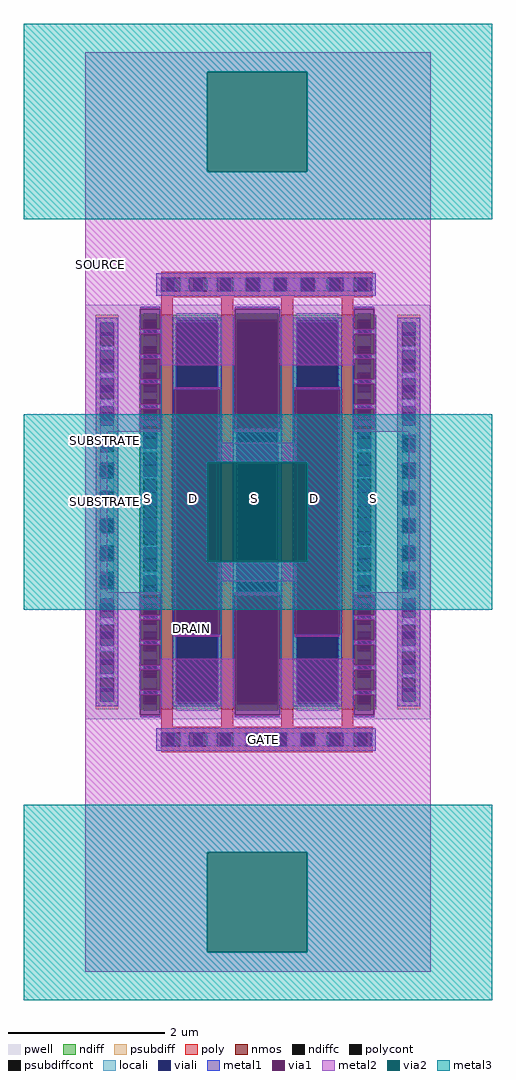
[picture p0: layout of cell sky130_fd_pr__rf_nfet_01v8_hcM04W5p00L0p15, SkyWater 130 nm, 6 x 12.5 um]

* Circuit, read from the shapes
.subckt sky130_fd_pr__rf_nfet_01v8_hcM04W5p00L0p15 DRAIN GATE SOURCE SUBSTRATE
XM1 DRAIN GATE SOURCE SUBSTRATE sky130_fd_pr__nfet_01v8 w=5.05 l=0.15 m=4
.ends

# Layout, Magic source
magic
tech sky130A
magscale 1 2
<< pwell >>
rect 158 719 1041 1781
<< nmos >>
rect 352 745 382 1755
rect 506 745 536 1755
rect 660 745 690 1755
rect 814 745 844 1755
<< ndiff >>
rect 296 1743 352 1755
rect 296 1709 307 1743
rect 341 1709 352 1743
rect 296 1675 352 1709
rect 296 1641 307 1675
rect 341 1641 352 1675
rect 296 1607 352 1641
rect 296 1573 307 1607
rect 341 1573 352 1607
rect 296 1539 352 1573
rect 296 1505 307 1539
rect 341 1505 352 1539
rect 296 1471 352 1505
rect 296 1437 307 1471
rect 341 1437 352 1471
rect 296 1403 352 1437
rect 296 1369 307 1403
rect 341 1369 352 1403
rect 296 1335 352 1369
rect 296 1301 307 1335
rect 341 1301 352 1335
rect 296 1267 352 1301
rect 296 1233 307 1267
rect 341 1233 352 1267
rect 296 1199 352 1233
rect 296 1165 307 1199
rect 341 1165 352 1199
rect 296 1131 352 1165
rect 296 1097 307 1131
rect 341 1097 352 1131
rect 296 1063 352 1097
rect 296 1029 307 1063
rect 341 1029 352 1063
rect 296 995 352 1029
rect 296 961 307 995
rect 341 961 352 995
rect 296 927 352 961
rect 296 893 307 927
rect 341 893 352 927
rect 296 859 352 893
rect 296 825 307 859
rect 341 825 352 859
rect 296 791 352 825
rect 296 757 307 791
rect 341 757 352 791
rect 296 745 352 757
rect 382 1743 506 1755
rect 382 757 393 1743
rect 495 757 506 1743
rect 382 745 506 757
rect 536 1743 660 1755
rect 536 757 547 1743
rect 649 757 660 1743
rect 536 745 660 757
rect 690 1743 814 1755
rect 690 757 701 1743
rect 803 757 814 1743
rect 690 745 814 757
rect 844 1743 903 1755
rect 844 1709 855 1743
rect 889 1709 903 1743
rect 844 1675 903 1709
rect 844 1641 855 1675
rect 889 1641 903 1675
rect 844 1607 903 1641
rect 844 1573 855 1607
rect 889 1573 903 1607
rect 844 1539 903 1573
rect 844 1505 855 1539
rect 889 1505 903 1539
rect 844 1471 903 1505
rect 844 1437 855 1471
rect 889 1437 903 1471
rect 844 1403 903 1437
rect 844 1369 855 1403
rect 889 1369 903 1403
rect 844 1335 903 1369
rect 844 1301 855 1335
rect 889 1301 903 1335
rect 844 1267 903 1301
rect 844 1233 855 1267
rect 889 1233 903 1267
rect 844 1199 903 1233
rect 844 1165 855 1199
rect 889 1165 903 1199
rect 844 1131 903 1165
rect 844 1097 855 1131
rect 889 1097 903 1131
rect 844 1063 903 1097
rect 844 1029 855 1063
rect 889 1029 903 1063
rect 844 995 903 1029
rect 844 961 855 995
rect 889 961 903 995
rect 844 927 903 961
rect 844 893 855 927
rect 889 893 903 927
rect 844 859 903 893
rect 844 825 855 859
rect 889 825 903 859
rect 844 791 903 825
rect 844 757 855 791
rect 889 757 903 791
rect 844 745 903 757
<< ndiffc >>
rect 307 1709 341 1743
rect 307 1641 341 1675
rect 307 1573 341 1607
rect 307 1505 341 1539
rect 307 1437 341 1471
rect 307 1369 341 1403
rect 307 1301 341 1335
rect 307 1233 341 1267
rect 307 1165 341 1199
rect 307 1097 341 1131
rect 307 1029 341 1063
rect 307 961 341 995
rect 307 893 341 927
rect 307 825 341 859
rect 307 757 341 791
rect 393 757 495 1743
rect 547 757 649 1743
rect 701 757 803 1743
rect 855 1709 889 1743
rect 855 1641 889 1675
rect 855 1573 889 1607
rect 855 1505 889 1539
rect 855 1437 889 1471
rect 855 1369 889 1403
rect 855 1301 889 1335
rect 855 1233 889 1267
rect 855 1165 889 1199
rect 855 1097 889 1131
rect 855 1029 889 1063
rect 855 961 889 995
rect 855 893 889 927
rect 855 825 889 859
rect 855 757 889 791
<< psubdiff >>
rect 184 1709 242 1755
rect 184 1675 196 1709
rect 230 1675 242 1709
rect 184 1641 242 1675
rect 184 1607 196 1641
rect 230 1607 242 1641
rect 184 1573 242 1607
rect 184 1539 196 1573
rect 230 1539 242 1573
rect 184 1505 242 1539
rect 184 1471 196 1505
rect 230 1471 242 1505
rect 184 1437 242 1471
rect 184 1403 196 1437
rect 230 1403 242 1437
rect 184 1369 242 1403
rect 184 1335 196 1369
rect 230 1335 242 1369
rect 184 1301 242 1335
rect 184 1267 196 1301
rect 230 1267 242 1301
rect 184 1233 242 1267
rect 184 1199 196 1233
rect 230 1199 242 1233
rect 184 1165 242 1199
rect 184 1131 196 1165
rect 230 1131 242 1165
rect 184 1097 242 1131
rect 184 1063 196 1097
rect 230 1063 242 1097
rect 184 1029 242 1063
rect 184 995 196 1029
rect 230 995 242 1029
rect 184 961 242 995
rect 184 927 196 961
rect 230 927 242 961
rect 184 893 242 927
rect 184 859 196 893
rect 230 859 242 893
rect 184 825 242 859
rect 184 791 196 825
rect 230 791 242 825
rect 184 745 242 791
rect 957 1709 1015 1755
rect 957 1675 969 1709
rect 1003 1675 1015 1709
rect 957 1641 1015 1675
rect 957 1607 969 1641
rect 1003 1607 1015 1641
rect 957 1573 1015 1607
rect 957 1539 969 1573
rect 1003 1539 1015 1573
rect 957 1505 1015 1539
rect 957 1471 969 1505
rect 1003 1471 1015 1505
rect 957 1437 1015 1471
rect 957 1403 969 1437
rect 1003 1403 1015 1437
rect 957 1369 1015 1403
rect 957 1335 969 1369
rect 1003 1335 1015 1369
rect 957 1301 1015 1335
rect 957 1267 969 1301
rect 1003 1267 1015 1301
rect 957 1233 1015 1267
rect 957 1199 969 1233
rect 1003 1199 1015 1233
rect 957 1165 1015 1199
rect 957 1131 969 1165
rect 1003 1131 1015 1165
rect 957 1097 1015 1131
rect 957 1063 969 1097
rect 1003 1063 1015 1097
rect 957 1029 1015 1063
rect 957 995 969 1029
rect 1003 995 1015 1029
rect 957 961 1015 995
rect 957 927 969 961
rect 1003 927 1015 961
rect 957 893 1015 927
rect 957 859 969 893
rect 1003 859 1015 893
rect 957 825 1015 859
rect 957 791 969 825
rect 1003 791 1015 825
rect 957 745 1015 791
<< psubdiffcont >>
rect 196 1675 230 1709
rect 196 1607 230 1641
rect 196 1539 230 1573
rect 196 1471 230 1505
rect 196 1403 230 1437
rect 196 1335 230 1369
rect 196 1267 230 1301
rect 196 1199 230 1233
rect 196 1131 230 1165
rect 196 1063 230 1097
rect 196 995 230 1029
rect 196 927 230 961
rect 196 859 230 893
rect 196 791 230 825
rect 969 1675 1003 1709
rect 969 1607 1003 1641
rect 969 1539 1003 1573
rect 969 1471 1003 1505
rect 969 1403 1003 1437
rect 969 1335 1003 1369
rect 969 1267 1003 1301
rect 969 1199 1003 1233
rect 969 1131 1003 1165
rect 969 1063 1003 1097
rect 969 995 1003 1029
rect 969 927 1003 961
rect 969 859 1003 893
rect 969 791 1003 825
<< poly >>
rect 352 1850 894 1866
rect 352 1816 368 1850
rect 402 1816 436 1850
rect 470 1816 504 1850
rect 538 1816 572 1850
rect 606 1816 640 1850
rect 674 1816 708 1850
rect 742 1816 776 1850
rect 810 1816 844 1850
rect 878 1816 894 1850
rect 352 1800 894 1816
rect 352 1755 382 1800
rect 506 1755 536 1800
rect 660 1755 690 1800
rect 814 1755 844 1800
rect 352 700 382 745
rect 506 700 536 745
rect 660 700 690 745
rect 814 700 844 745
rect 352 684 894 700
rect 352 650 368 684
rect 402 650 436 684
rect 470 650 504 684
rect 538 650 572 684
rect 606 650 640 684
rect 674 650 708 684
rect 742 650 776 684
rect 810 650 844 684
rect 878 650 894 684
rect 352 634 894 650
<< polycont >>
rect 368 1816 402 1850
rect 436 1816 470 1850
rect 504 1816 538 1850
rect 572 1816 606 1850
rect 640 1816 674 1850
rect 708 1816 742 1850
rect 776 1816 810 1850
rect 844 1816 878 1850
rect 368 650 402 684
rect 436 650 470 684
rect 504 650 538 684
rect 572 650 606 684
rect 640 650 674 684
rect 708 650 742 684
rect 776 650 810 684
rect 844 650 878 684
<< locali >>
rect 402 1816 424 1850
rect 470 1816 496 1850
rect 538 1816 568 1850
rect 606 1816 640 1850
rect 674 1816 708 1850
rect 746 1816 776 1850
rect 818 1816 844 1850
rect 890 1816 894 1850
rect 307 1743 341 1759
rect 196 1663 230 1675
rect 196 1591 230 1607
rect 196 1519 230 1539
rect 196 1447 230 1471
rect 196 1375 230 1403
rect 196 1303 230 1335
rect 196 1233 230 1267
rect 196 1165 230 1197
rect 196 1097 230 1125
rect 196 1029 230 1053
rect 196 961 230 981
rect 196 893 230 909
rect 196 825 230 837
rect 307 1675 341 1701
rect 307 1607 341 1629
rect 307 1539 341 1557
rect 307 1471 341 1485
rect 307 1403 341 1413
rect 307 1335 341 1341
rect 307 1267 341 1269
rect 307 1231 341 1233
rect 307 1159 341 1165
rect 307 1087 341 1097
rect 307 1015 341 1029
rect 307 943 341 961
rect 307 871 341 893
rect 307 799 341 825
rect 307 741 341 757
rect 391 1743 497 1759
rect 391 1735 393 1743
rect 495 1735 497 1743
rect 391 757 393 765
rect 495 757 497 765
rect 391 741 497 757
rect 545 1743 651 1759
rect 545 1735 547 1743
rect 649 1735 651 1743
rect 545 757 547 765
rect 649 757 651 765
rect 545 741 651 757
rect 699 1743 805 1759
rect 699 1735 701 1743
rect 803 1735 805 1743
rect 699 757 701 765
rect 803 757 805 765
rect 699 741 805 757
rect 855 1743 889 1759
rect 855 1675 889 1701
rect 855 1607 889 1629
rect 855 1539 889 1557
rect 855 1471 889 1485
rect 855 1403 889 1413
rect 855 1335 889 1341
rect 855 1267 889 1269
rect 855 1231 889 1233
rect 855 1159 889 1165
rect 855 1087 889 1097
rect 855 1015 889 1029
rect 855 943 889 961
rect 855 871 889 893
rect 855 799 889 825
rect 969 1663 1003 1675
rect 969 1591 1003 1607
rect 969 1519 1003 1539
rect 969 1447 1003 1471
rect 969 1375 1003 1403
rect 969 1303 1003 1335
rect 969 1233 1003 1267
rect 969 1165 1003 1197
rect 969 1097 1003 1125
rect 969 1029 1003 1053
rect 969 961 1003 981
rect 969 893 1003 909
rect 969 825 1003 837
rect 855 741 889 757
rect 402 650 424 684
rect 470 650 496 684
rect 538 650 568 684
rect 606 650 640 684
rect 674 650 708 684
rect 746 650 776 684
rect 818 650 844 684
rect 890 650 894 684
<< viali >>
rect 352 1816 368 1850
rect 368 1816 386 1850
rect 424 1816 436 1850
rect 436 1816 458 1850
rect 496 1816 504 1850
rect 504 1816 530 1850
rect 568 1816 572 1850
rect 572 1816 602 1850
rect 640 1816 674 1850
rect 712 1816 742 1850
rect 742 1816 746 1850
rect 784 1816 810 1850
rect 810 1816 818 1850
rect 856 1816 878 1850
rect 878 1816 890 1850
rect 196 1709 230 1735
rect 196 1701 230 1709
rect 196 1641 230 1663
rect 196 1629 230 1641
rect 196 1573 230 1591
rect 196 1557 230 1573
rect 196 1505 230 1519
rect 196 1485 230 1505
rect 196 1437 230 1447
rect 196 1413 230 1437
rect 196 1369 230 1375
rect 196 1341 230 1369
rect 196 1301 230 1303
rect 196 1269 230 1301
rect 196 1199 230 1231
rect 196 1197 230 1199
rect 196 1131 230 1159
rect 196 1125 230 1131
rect 196 1063 230 1087
rect 196 1053 230 1063
rect 196 995 230 1015
rect 196 981 230 995
rect 196 927 230 943
rect 196 909 230 927
rect 196 859 230 871
rect 196 837 230 859
rect 196 791 230 799
rect 196 765 230 791
rect 307 1709 341 1735
rect 307 1701 341 1709
rect 307 1641 341 1663
rect 307 1629 341 1641
rect 307 1573 341 1591
rect 307 1557 341 1573
rect 307 1505 341 1519
rect 307 1485 341 1505
rect 307 1437 341 1447
rect 307 1413 341 1437
rect 307 1369 341 1375
rect 307 1341 341 1369
rect 307 1301 341 1303
rect 307 1269 341 1301
rect 307 1199 341 1231
rect 307 1197 341 1199
rect 307 1131 341 1159
rect 307 1125 341 1131
rect 307 1063 341 1087
rect 307 1053 341 1063
rect 307 995 341 1015
rect 307 981 341 995
rect 307 927 341 943
rect 307 909 341 927
rect 307 859 341 871
rect 307 837 341 859
rect 307 791 341 799
rect 307 765 341 791
rect 391 765 393 1735
rect 393 765 495 1735
rect 495 765 497 1735
rect 545 765 547 1735
rect 547 765 649 1735
rect 649 765 651 1735
rect 699 765 701 1735
rect 701 765 803 1735
rect 803 765 805 1735
rect 855 1709 889 1735
rect 855 1701 889 1709
rect 855 1641 889 1663
rect 855 1629 889 1641
rect 855 1573 889 1591
rect 855 1557 889 1573
rect 855 1505 889 1519
rect 855 1485 889 1505
rect 855 1437 889 1447
rect 855 1413 889 1437
rect 855 1369 889 1375
rect 855 1341 889 1369
rect 855 1301 889 1303
rect 855 1269 889 1301
rect 855 1199 889 1231
rect 855 1197 889 1199
rect 855 1131 889 1159
rect 855 1125 889 1131
rect 855 1063 889 1087
rect 855 1053 889 1063
rect 855 995 889 1015
rect 855 981 889 995
rect 855 927 889 943
rect 855 909 889 927
rect 855 859 889 871
rect 855 837 889 859
rect 855 791 889 799
rect 855 765 889 791
rect 969 1709 1003 1735
rect 969 1701 1003 1709
rect 969 1641 1003 1663
rect 969 1629 1003 1641
rect 969 1573 1003 1591
rect 969 1557 1003 1573
rect 969 1505 1003 1519
rect 969 1485 1003 1505
rect 969 1437 1003 1447
rect 969 1413 1003 1437
rect 969 1369 1003 1375
rect 969 1341 1003 1369
rect 969 1301 1003 1303
rect 969 1269 1003 1301
rect 969 1199 1003 1231
rect 969 1197 1003 1199
rect 969 1131 1003 1159
rect 969 1125 1003 1131
rect 969 1063 1003 1087
rect 969 1053 1003 1063
rect 969 995 1003 1015
rect 969 981 1003 995
rect 969 927 1003 943
rect 969 909 1003 927
rect 969 859 1003 871
rect 969 837 1003 859
rect 969 791 1003 799
rect 969 765 1003 791
rect 352 650 368 684
rect 368 650 386 684
rect 424 650 436 684
rect 436 650 458 684
rect 496 650 504 684
rect 504 650 530 684
rect 568 650 572 684
rect 572 650 602 684
rect 640 650 674 684
rect 712 650 742 684
rect 742 650 746 684
rect 784 650 810 684
rect 810 650 818 684
rect 856 650 878 684
rect 878 650 890 684
<< metal1 >>
rect 340 1850 902 1862
rect 340 1816 352 1850
rect 386 1816 424 1850
rect 458 1816 496 1850
rect 530 1816 568 1850
rect 602 1816 640 1850
rect 674 1816 712 1850
rect 746 1816 784 1850
rect 818 1816 856 1850
rect 890 1816 902 1850
rect 340 1804 902 1816
rect 298 1770 350 1776
rect 184 1735 242 1747
rect 184 1701 196 1735
rect 230 1701 242 1735
rect 184 1663 242 1701
rect 184 1629 196 1663
rect 230 1629 242 1663
rect 184 1591 242 1629
rect 184 1557 196 1591
rect 230 1557 242 1591
rect 184 1519 242 1557
rect 184 1485 196 1519
rect 230 1485 242 1519
rect 184 1447 242 1485
rect 184 1413 196 1447
rect 230 1413 242 1447
rect 184 1375 242 1413
rect 184 1341 196 1375
rect 230 1341 242 1375
rect 184 1303 242 1341
rect 184 1269 196 1303
rect 230 1269 242 1303
rect 184 1231 242 1269
rect 184 1197 196 1231
rect 230 1197 242 1231
rect 184 1159 242 1197
rect 184 1125 196 1159
rect 230 1125 242 1159
rect 184 1087 242 1125
rect 184 1053 196 1087
rect 230 1053 242 1087
rect 184 1015 242 1053
rect 184 981 196 1015
rect 230 981 242 1015
rect 184 943 242 981
rect 184 909 196 943
rect 230 909 242 943
rect 184 871 242 909
rect 184 837 196 871
rect 230 837 242 871
rect 184 799 242 837
rect 184 765 196 799
rect 230 765 242 799
rect 184 753 242 765
rect 540 1770 656 1776
rect 350 1718 353 1747
rect 298 1706 307 1718
rect 341 1706 353 1718
rect 350 1654 353 1706
rect 298 1642 307 1654
rect 341 1642 353 1654
rect 350 1590 353 1642
rect 298 1578 307 1590
rect 341 1578 353 1590
rect 350 1526 353 1578
rect 298 1519 353 1526
rect 298 1514 307 1519
rect 341 1514 353 1519
rect 350 1462 353 1514
rect 298 1447 353 1462
rect 298 1413 307 1447
rect 341 1413 353 1447
rect 298 1375 353 1413
rect 298 1341 307 1375
rect 341 1341 353 1375
rect 298 1303 353 1341
rect 298 1269 307 1303
rect 341 1269 353 1303
rect 298 1231 353 1269
rect 298 1197 307 1231
rect 341 1197 353 1231
rect 298 1159 353 1197
rect 298 1125 307 1159
rect 341 1125 353 1159
rect 298 1087 353 1125
rect 298 1053 307 1087
rect 341 1053 353 1087
rect 298 1038 353 1053
rect 350 986 353 1038
rect 298 981 307 986
rect 341 981 353 986
rect 298 974 353 981
rect 350 922 353 974
rect 298 910 307 922
rect 341 910 353 922
rect 350 858 353 910
rect 298 846 307 858
rect 341 846 353 858
rect 350 794 353 846
rect 298 782 307 794
rect 341 782 353 794
rect 350 753 353 782
rect 381 1735 507 1747
rect 381 1564 391 1735
rect 497 1564 507 1735
rect 381 936 386 1564
rect 502 936 507 1564
rect 381 765 391 936
rect 497 765 507 936
rect 381 753 507 765
rect 535 1462 540 1747
rect 846 1770 898 1776
rect 656 1462 661 1747
rect 535 1038 545 1462
rect 651 1038 661 1462
rect 535 753 540 1038
rect 298 724 350 730
rect 656 753 661 1038
rect 689 1735 815 1747
rect 689 1564 699 1735
rect 805 1564 815 1735
rect 689 936 694 1564
rect 810 936 815 1564
rect 689 765 699 936
rect 805 765 815 936
rect 689 753 815 765
rect 843 1718 846 1747
rect 898 1718 901 1747
rect 843 1706 855 1718
rect 889 1706 901 1718
rect 843 1654 846 1706
rect 898 1654 901 1706
rect 843 1642 855 1654
rect 889 1642 901 1654
rect 843 1590 846 1642
rect 898 1590 901 1642
rect 843 1578 855 1590
rect 889 1578 901 1590
rect 843 1526 846 1578
rect 898 1526 901 1578
rect 843 1519 901 1526
rect 843 1514 855 1519
rect 889 1514 901 1519
rect 843 1462 846 1514
rect 898 1462 901 1514
rect 843 1447 901 1462
rect 843 1413 855 1447
rect 889 1413 901 1447
rect 843 1375 901 1413
rect 843 1341 855 1375
rect 889 1341 901 1375
rect 843 1303 901 1341
rect 843 1269 855 1303
rect 889 1269 901 1303
rect 843 1231 901 1269
rect 843 1197 855 1231
rect 889 1197 901 1231
rect 843 1159 901 1197
rect 843 1125 855 1159
rect 889 1125 901 1159
rect 843 1087 901 1125
rect 843 1053 855 1087
rect 889 1053 901 1087
rect 843 1038 901 1053
rect 843 986 846 1038
rect 898 986 901 1038
rect 843 981 855 986
rect 889 981 901 986
rect 843 974 901 981
rect 843 922 846 974
rect 898 922 901 974
rect 843 910 855 922
rect 889 910 901 922
rect 843 858 846 910
rect 898 858 901 910
rect 843 846 855 858
rect 889 846 901 858
rect 843 794 846 846
rect 898 794 901 846
rect 843 782 855 794
rect 889 782 901 794
rect 843 753 846 782
rect 540 724 656 730
rect 898 753 901 782
rect 957 1735 1015 1747
rect 957 1701 969 1735
rect 1003 1701 1015 1735
rect 957 1663 1015 1701
rect 957 1629 969 1663
rect 1003 1629 1015 1663
rect 957 1591 1015 1629
rect 957 1557 969 1591
rect 1003 1557 1015 1591
rect 957 1519 1015 1557
rect 957 1485 969 1519
rect 1003 1485 1015 1519
rect 957 1447 1015 1485
rect 957 1413 969 1447
rect 1003 1413 1015 1447
rect 957 1375 1015 1413
rect 957 1341 969 1375
rect 1003 1341 1015 1375
rect 957 1303 1015 1341
rect 957 1269 969 1303
rect 1003 1269 1015 1303
rect 957 1231 1015 1269
rect 957 1197 969 1231
rect 1003 1197 1015 1231
rect 957 1159 1015 1197
rect 957 1125 969 1159
rect 1003 1125 1015 1159
rect 957 1087 1015 1125
rect 957 1053 969 1087
rect 1003 1053 1015 1087
rect 957 1015 1015 1053
rect 957 981 969 1015
rect 1003 981 1015 1015
rect 957 943 1015 981
rect 957 909 969 943
rect 1003 909 1015 943
rect 957 871 1015 909
rect 957 837 969 871
rect 1003 837 1015 871
rect 957 799 1015 837
rect 957 765 969 799
rect 1003 765 1015 799
rect 957 753 1015 765
rect 846 724 898 730
rect 340 684 902 696
rect 340 650 352 684
rect 386 650 424 684
rect 458 650 496 684
rect 530 650 568 684
rect 602 650 640 684
rect 674 650 712 684
rect 746 650 784 684
rect 818 650 856 684
rect 890 650 902 684
rect 340 638 902 650
<< via1 >>
rect 298 1735 350 1770
rect 298 1718 307 1735
rect 307 1718 341 1735
rect 341 1718 350 1735
rect 298 1701 307 1706
rect 307 1701 341 1706
rect 341 1701 350 1706
rect 298 1663 350 1701
rect 298 1654 307 1663
rect 307 1654 341 1663
rect 341 1654 350 1663
rect 298 1629 307 1642
rect 307 1629 341 1642
rect 341 1629 350 1642
rect 298 1591 350 1629
rect 298 1590 307 1591
rect 307 1590 341 1591
rect 341 1590 350 1591
rect 298 1557 307 1578
rect 307 1557 341 1578
rect 341 1557 350 1578
rect 298 1526 350 1557
rect 298 1485 307 1514
rect 307 1485 341 1514
rect 341 1485 350 1514
rect 298 1462 350 1485
rect 298 1015 350 1038
rect 298 986 307 1015
rect 307 986 341 1015
rect 341 986 350 1015
rect 298 943 350 974
rect 298 922 307 943
rect 307 922 341 943
rect 341 922 350 943
rect 298 909 307 910
rect 307 909 341 910
rect 341 909 350 910
rect 298 871 350 909
rect 298 858 307 871
rect 307 858 341 871
rect 341 858 350 871
rect 298 837 307 846
rect 307 837 341 846
rect 341 837 350 846
rect 298 799 350 837
rect 298 794 307 799
rect 307 794 341 799
rect 341 794 350 799
rect 298 765 307 782
rect 307 765 341 782
rect 341 765 350 782
rect 298 730 350 765
rect 386 936 391 1564
rect 391 936 497 1564
rect 497 936 502 1564
rect 540 1735 656 1770
rect 540 1462 545 1735
rect 545 1462 651 1735
rect 651 1462 656 1735
rect 540 765 545 1038
rect 545 765 651 1038
rect 651 765 656 1038
rect 540 730 656 765
rect 694 936 699 1564
rect 699 936 805 1564
rect 805 936 810 1564
rect 846 1735 898 1770
rect 846 1718 855 1735
rect 855 1718 889 1735
rect 889 1718 898 1735
rect 846 1701 855 1706
rect 855 1701 889 1706
rect 889 1701 898 1706
rect 846 1663 898 1701
rect 846 1654 855 1663
rect 855 1654 889 1663
rect 889 1654 898 1663
rect 846 1629 855 1642
rect 855 1629 889 1642
rect 889 1629 898 1642
rect 846 1591 898 1629
rect 846 1590 855 1591
rect 855 1590 889 1591
rect 889 1590 898 1591
rect 846 1557 855 1578
rect 855 1557 889 1578
rect 889 1557 898 1578
rect 846 1526 898 1557
rect 846 1485 855 1514
rect 855 1485 889 1514
rect 889 1485 898 1514
rect 846 1462 898 1485
rect 846 1015 898 1038
rect 846 986 855 1015
rect 855 986 889 1015
rect 889 986 898 1015
rect 846 943 898 974
rect 846 922 855 943
rect 855 922 889 943
rect 889 922 898 943
rect 846 909 855 910
rect 855 909 889 910
rect 889 909 898 910
rect 846 871 898 909
rect 846 858 855 871
rect 855 858 889 871
rect 889 858 898 871
rect 846 837 855 846
rect 855 837 889 846
rect 889 837 898 846
rect 846 799 898 837
rect 846 794 855 799
rect 855 794 889 799
rect 889 794 898 799
rect 846 765 855 782
rect 855 765 889 782
rect 889 765 898 782
rect 846 730 898 765
<< metal2 >>
rect 158 2378 1042 2428
rect 158 2122 470 2378
rect 726 2122 1042 2378
rect 158 1770 1042 2122
rect 158 1718 298 1770
rect 350 1718 540 1770
rect 158 1706 540 1718
rect 158 1654 298 1706
rect 350 1654 540 1706
rect 158 1642 540 1654
rect 158 1590 298 1642
rect 350 1626 540 1642
rect 158 1578 350 1590
rect 158 1526 298 1578
rect 158 1514 350 1526
rect 158 1462 298 1514
rect 158 1456 350 1462
rect 386 1564 502 1570
rect 158 1044 214 1456
rect 656 1718 846 1770
rect 898 1718 1042 1770
rect 656 1706 1042 1718
rect 656 1654 846 1706
rect 898 1654 1042 1706
rect 656 1642 1042 1654
rect 656 1626 846 1642
rect 898 1590 1042 1642
rect 846 1578 1042 1590
rect 540 1456 656 1462
rect 694 1564 810 1570
rect 502 1378 694 1428
rect 898 1526 1042 1578
rect 846 1514 1042 1526
rect 898 1462 1042 1514
rect 846 1456 1042 1462
rect 158 1038 350 1044
rect 158 986 298 1038
rect 158 974 350 986
rect 158 922 298 974
rect 502 1072 694 1122
rect 386 930 502 936
rect 540 1038 656 1044
rect 158 910 350 922
rect 158 858 298 910
rect 350 858 540 874
rect 158 846 540 858
rect 158 794 298 846
rect 350 794 540 846
rect 158 782 540 794
rect 158 730 298 782
rect 350 730 540 782
rect 986 1044 1042 1456
rect 694 930 810 936
rect 846 1038 1042 1044
rect 898 986 1042 1038
rect 846 974 1042 986
rect 898 922 1042 974
rect 846 910 1042 922
rect 656 858 846 874
rect 898 858 1042 910
rect 656 846 1042 858
rect 656 794 846 846
rect 898 794 1042 846
rect 656 782 1042 794
rect 656 730 846 782
rect 898 730 1042 782
rect 158 378 1042 730
rect 158 122 470 378
rect 726 122 1042 378
rect 158 72 1042 122
<< via2 >>
rect 470 2122 726 2378
rect 470 1122 502 1378
rect 502 1122 694 1378
rect 694 1122 726 1378
rect 470 122 726 378
<< metal3 >>
rect 0 2378 1200 2500
rect 0 2122 470 2378
rect 726 2122 1200 2378
rect 0 2000 1200 2122
rect 0 1378 1200 1500
rect 0 1122 470 1378
rect 726 1122 1200 1378
rect 0 1000 1200 1122
rect 0 378 1200 500
rect 0 122 470 378
rect 726 122 1200 378
rect 0 0 1200 122
<< labels >>
flabel comment s 895 1285 895 1285 0 FreeSans 300 0 0 0 S
flabel comment s 436 1285 436 1285 0 FreeSans 300 0 0 0 D
flabel comment s 744 1285 744 1285 0 FreeSans 300 0 0 0 D
flabel comment s 590 1285 590 1285 0 FreeSans 300 0 0 0 S
flabel comment s 316 1285 316 1285 0 FreeSans 300 180 0 0 S
flabel metal1 s 572 654 658 679 0 FreeSans 200 180 0 0 GATE
port 2 nsew
flabel metal1 s 209 1278 209 1278 0 FreeSans 200 90 0 0 SUBSTRATE
port 4 nsew
flabel metal2 s 158 1871 234 1896 0 FreeSans 200 0 0 0 SOURCE
port 3 nsew
flabel metal2 s 391 939 467 964 0 FreeSans 200 0 0 0 DRAIN
port 1 nsew
flabel metal1 s 195 1400 222 1464 0 FreeSans 700 90 0 0 SUBSTRATE
port 4 nsew
<< properties >>
string GDS_FILE $PDKPATH/libs.ref/sky130_fd_pr/gds/sky130_fd_pr.gds
string GDS_END 5758440
string GDS_START 5726326
<< end >>
